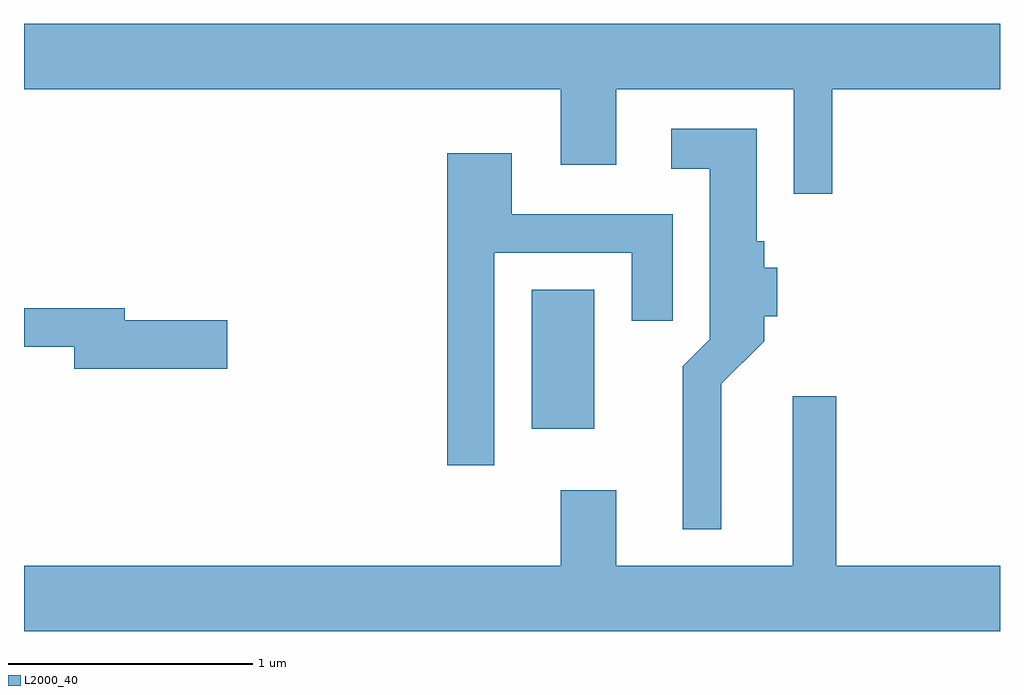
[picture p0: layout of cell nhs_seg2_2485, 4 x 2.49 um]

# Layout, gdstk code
import gdstk
lib = gdstk.Library(unit=1e-6, precision=1e-09)
def R(c, l, rs):  # rectangles x0, y0, x1, y1
    for r in rs: c.add(gdstk.rectangle(r[:2], r[2:], *l))
def P(c, l, *ps):  # polygons
    for p in ps: c.add(gdstk.Polygon(p, *l))
L2000_40 = (2000, 40)

nhs_seg2_2485 = lib.new_cell('nhs_seg2_2485')
R(nhs_seg2_2485, L2000_40, [(259.691,1053.586,259.949,1054.154)])
P(nhs_seg2_2485, L2000_40, [(260.924,1054.976),(261.611,1054.976),(261.611,1055.244),(257.611,1055.244),(257.611,1054.976),(259.811,1054.976),(259.811,1054.666),(260.039,1054.666),(260.039,1054.976),(260.766,1054.976),(260.766,1054.548),(260.924,1054.548)],
  [(260.469,1053.769),(260.644,1053.944),(260.644,1054.046),(260.699,1054.046),(260.699,1054.244),(260.644,1054.244),(260.644,1054.354),(260.614,1054.354),(260.614,1054.814),(260.263,1054.814),(260.263,1054.651),(260.421,1054.651),(260.421,1053.952),(260.311,1053.842),(260.311,1053.173),(260.469,1053.173)],
  [(259.539,1054.306),(260.101,1054.306),(260.101,1054.028),(260.269,1054.028),(260.269,1054.464),(259.609,1054.464),(259.609,1054.714),(259.346,1054.714),(259.346,1053.436),(259.539,1053.436)],
  [(258.444,1054.029),(258.024,1054.029),(258.024,1054.079),(257.611,1054.079),(257.611,1053.921),(257.816,1053.921),(257.816,1053.831),(258.444,1053.831)],
  [(261.611,1053.024),(260.939,1053.024),(260.939,1053.719),(260.761,1053.719),(260.761,1053.024),(260.039,1053.024),(260.039,1053.334),(259.811,1053.334),(259.811,1053.024),(257.611,1053.024),(257.611,1052.756),(261.611,1052.756)])

lib.write_gds('nhs_seg2_2485.gds')
